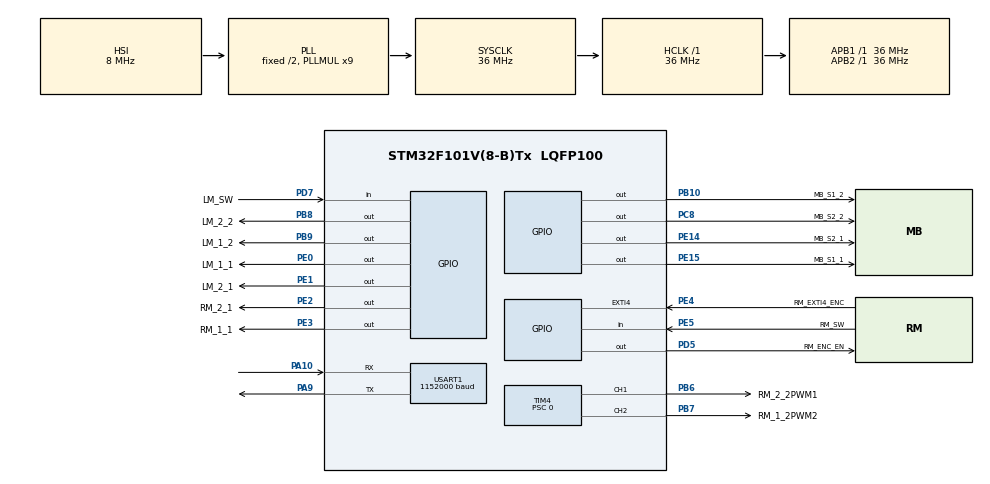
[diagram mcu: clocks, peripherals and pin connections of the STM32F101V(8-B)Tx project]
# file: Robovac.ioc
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FREERTOS.Tasks01=defaultTask,0,256,StartDefaultTask,Default,NULL,Dynamic,NULL,NULL
FREERTOS.configCHECK_FOR_STACK_OVERFLOW=0
FREERTOS.configUSE_MALLOC_FAILED_HOOK=0
Mcu.Family=STM32F1
Mcu.Name=STM32F101V(8-B)Tx
Mcu.Package=LQFP100
NVIC.EXTI4_IRQn=true\:5\:0\:false\:false\:true\:true\:true\:true
NVIC.PriorityGroup=NVIC_PRIORITYGROUP_4
NVIC.TIM2_IRQn=true\:5\:0\:false\:false\:true\:true\:true\:true
PA10.Mode=Asynchronous
PA10.Signal=USART1_RX
PA13.Mode=Serial_Wire
PA13.Signal=SYS_JTMS-SWDIO
PA14.Mode=Serial_Wire
PA14.Signal=SYS_JTCK-SWCLK
PA9.Mode=Asynchronous
PA9.Signal=USART1_TX
PB10.GPIO_Label=MB_S1_2
PB10.GPIO_ModeDefaultOutputPP=GPIO_MODE_OUTPUT_PP
PB10.Signal=GPIO_Output
PB6.GPIO_Label=RM_2_2PWM1
PB6.Signal=S_TIM4_CH1
PB7.GPIO_Label=RM_1_2PWM2
PB7.Signal=S_TIM4_CH2
PB8.GPIO_Label=LM_2_2
PB8.Signal=GPIO_Output
PB9.GPIO_Label=LM_1_2
PB9.Signal=GPIO_Output
PC14-OSC32_IN.Mode=LSE-External-Oscillator
PC14-OSC32_IN.Signal=RCC_OSC32_IN
PC15-OSC32_OUT.Mode=LSE-External-Oscillator
PC15-OSC32_OUT.Signal=RCC_OSC32_OUT
PC8.GPIO_Label=MB_S2_2
PC8.GPIO_ModeDefaultOutputPP=GPIO_MODE_OUTPUT_PP
PC8.Signal=GPIO_Output
PD5.GPIO_Label=RM_ENC_EN
PD5.PinState=GPIO_PIN_RESET
PD5.Signal=GPIO_Output
PD7.GPIO_Label=LM_SW
PD7.Signal=GPIO_Input
PE0.GPIO_Label=LM_1_1
PE0.Signal=GPIO_Output
PE1.GPIO_Label=LM_2_1
PE1.Signal=GPIO_Output
PE14.GPIO_Label=MB_S2_1
PE14.GPIO_ModeDefaultOutputPP=GPIO_MODE_OUTPUT_PP
PE14.Signal=GPIO_Output
PE15.GPIO_Label=MB_S1_1
PE15.GPIO_ModeDefaultOutputPP=GPIO_MODE_OUTPUT_PP
PE15.Signal=GPIO_Output
PE2.GPIO_Label=RM_2_1
PE2.Signal=GPIO_Output
PE3.GPIO_Label=RM_1_1
PE3.Signal=GPIO_Output
PE4.GPIO_Label=RM_EXTI4_ENC
PE4.GPIO_ModeDefaultEXTI=GPIO_MODE_IT_FALLING
PE4.GPIO_PuPd=GPIO_PULLUP
PE4.Signal=GPXTI4
PE5.GPIO_Label=RM_SW
PE5.Signal=GPIO_Input
ProjectManager.HeapSize=0x200
ProjectManager.StackSize=0x400
ProjectManager.TargetToolchain=STM32CubeIDE
RCC.AHBFreq_Value=36000000
RCC.APB1Freq_Value=36000000
RCC.APB1TimFreq_Value=36000000
RCC.APB2Freq_Value=36000000
RCC.HCLKFreq_Value=36000000
RCC.PLLMUL=RCC_PLL_MUL9
RCC.RTCClockSelection=RCC_RTCCLKSOURCE_LSE
RCC.SYSCLKFreq_VALUE=36000000
RCC.SYSCLKSource=RCC_SYSCLKSOURCE_PLLCLK
RTC.Format=RTC_FORMAT_BCD
SH.S_TIM4_CH1.0=TIM4_CH1,PWM Generation1 CH1
SH.S_TIM4_CH2.0=TIM4_CH2,PWM Generation2 CH2
TIM2.Period=1799
TIM4.Channel-PWM\ Generation1\ CH1=TIM_CHANNEL_1
TIM4.Channel-PWM\ Generation2\ CH2=TIM_CHANNEL_2
TIM4.OCMode_PWM-PWM\ Generation2\ CH2=TIM_OCMODE_PWM1
TIM4.OCPolarity_2=TIM_OCPOLARITY_HIGH
TIM4.Period=1799
TIM4.Prescaler=0
TIM4.Pulse-PWM\ Generation1\ CH1=100
TIM4.Pulse-PWM\ Generation2\ CH2=100
USART1.BaudRate=1152000
USART1.VirtualMode=VM_ASYNC
VP_FREERTOS_VS_CMSIS_V1.Mode=CMSIS_V1
VP_RTC_VS_RTC_Activate.Mode=RTC_Enabled
VP_RTC_VS_RTC_Calendar.Mode=RTC_Calendar
VP_TIM2_VS_ClockSourceINT.Mode=Internal
VP_TIM4_VS_ClockSourceINT.Mode=Internal
board=custom

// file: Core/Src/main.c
/* USER CODE BEGIN Header */
/**
 ******************************************************************************
 * @file           : main.c
 * @brief          : Main program body
 ******************************************************************************
 * @attention
 *
 * <h2><center>&copy; Copyright (c) 2020 STMicroelectronics.
 * All rights reserved.</center></h2>
 *
 * This software component is licensed by ST under BSD 3-Clause license,
 * the "License"; You may not use this file except in compliance with the
 * License. You may obtain a copy of the License at:
 *                        opensource.org/licenses/BSD-3-Clause
 *
 ******************************************************************************
 */
/* USER CODE END Header */

#include "main.h"
#include "cmsis_os.h"

/* USER CODE BEGIN Includes */
#include "pid.h"
#include "wheel_control.h"
/* USER CODE END Includes */

RTC_HandleTypeDef hrtc;

TIM_HandleTypeDef htim2;
TIM_HandleTypeDef htim4;

UART_HandleTypeDef huart1;

osThreadId defaultTaskHandle;
/* USER CODE BEGIN PV */

volatile int rm_enc_count = 0;
volatile float freq = 0;
volatile float rpm = 0;
volatile uint8_t rm_enc_it = 0;
volatile uint64_t rm_enc_time_us = 0;
volatile uint64_t last_rm_enc_time_us = 0;
volatile uint64_t time_us = 0;
volatile WheelControl r_wheel = { 0 };
/* USER CODE END PV */

void SystemClock_Config(void);
static void MX_GPIO_Init(void);
static void MX_TIM4_Init(void);
static void MX_RTC_Init(void);
static void MX_TIM2_Init(void);
static void MX_USART1_UART_Init(void);
void StartDefaultTask(void const * argument);

/* USER CODE BEGIN PFP */
void setGPIOMode(GPIO_TypeDef *GPIOx, uint16_t GPIO_Pin, uint32_t Mode);
/* USER CODE END PFP */

int main(void)
{

  /* MCU Configuration--------------------------------------------------------*/

  /* Reset of all peripherals, Initializes the Flash interface and the Systick. */
  HAL_Init();

  /* USER CODE BEGIN Init */
	TIM2->CNT = 0;
  /* USER CODE END Init */

  /* Configure the system clock */
  SystemClock_Config();

  /* Initialize all configured peripherals */
  MX_GPIO_Init();
  MX_TIM4_Init();
  MX_RTC_Init();
  MX_TIM2_Init();
  MX_USART1_UART_Init();
  /* USER CODE BEGIN 2 */
	//
	//HAL_TIM_PWM_Start(&htim4, TIM_CHANNEL_2);
	//HAL_TIM_PWM_Start(&htim4, TIM_CHANNEL_1);
	HAL_TIM_Base_Start_IT(&htim2);
	wheel_init(&r_wheel, &huart1, RM_ENC_EN_GPIO_Port, RM_ENC_EN_Pin, &htim4,
			TIM_CHANNEL_2, TIM_CHANNEL_1, RM_1_1_GPIO_Port, RM_1_1_Pin,
			RM_2_1_Pin);

  /* USER CODE END 2 */

  /* Create the thread(s) */
  /* definition and creation of defaultTask */
  osThreadDef(defaultTask, StartDefaultTask, osPriorityNormal, 0, 256);
  defaultTaskHandle = osThreadCreate(osThread(defaultTask), NULL);

  /* Start scheduler */
  osKernelStart();

  /* We should never get here as control is now taken by the scheduler */

  /* Infinite loop */
	while (1) {

	}
}

void SystemClock_Config(void)
{
  RCC_OscInitTypeDef RCC_OscInitStruct = {0};
  RCC_ClkInitTypeDef RCC_ClkInitStruct = {0};
  RCC_PeriphCLKInitTypeDef PeriphClkInit = {0};

  /** Initializes the CPU, AHB and APB busses clocks
  */
  RCC_OscInitStruct.OscillatorType = RCC_OSCILLATORTYPE_HSI|RCC_OSCILLATORTYPE_LSE;
  RCC_OscInitStruct.LSEState = RCC_LSE_ON;
  RCC_OscInitStruct.HSIState = RCC_HSI_ON;
  RCC_OscInitStruct.HSICalibrationValue = RCC_HSICALIBRATION_DEFAULT;
  RCC_OscInitStruct.PLL.PLLState = RCC_PLL_ON;
  RCC_OscInitStruct.PLL.PLLSource = RCC_PLLSOURCE_HSI_DIV2;
  RCC_OscInitStruct.PLL.PLLMUL = RCC_PLL_MUL9;
  if (HAL_RCC_OscConfig(&RCC_OscInitStruct) != HAL_OK)
  {
    Error_Handler();
  }
  /** Initializes the CPU, AHB and APB busses clocks
  */
  RCC_ClkInitStruct.ClockType = RCC_CLOCKTYPE_HCLK|RCC_CLOCKTYPE_SYSCLK
                              |RCC_CLOCKTYPE_PCLK1|RCC_CLOCKTYPE_PCLK2;
  RCC_ClkInitStruct.SYSCLKSource = RCC_SYSCLKSOURCE_PLLCLK;
  RCC_ClkInitStruct.AHBCLKDivider = RCC_SYSCLK_DIV1;
  RCC_ClkInitStruct.APB1CLKDivider = RCC_HCLK_DIV1;
  RCC_ClkInitStruct.APB2CLKDivider = RCC_HCLK_DIV1;

  if (HAL_RCC_ClockConfig(&RCC_ClkInitStruct, FLASH_LATENCY_1) != HAL_OK)
  {
    Error_Handler();
  }
  PeriphClkInit.PeriphClockSelection = RCC_PERIPHCLK_RTC;
  PeriphClkInit.RTCClockSelection = RCC_RTCCLKSOURCE_LSE;
  if (HAL_RCCEx_PeriphCLKConfig(&PeriphClkInit) != HAL_OK)
  {
    Error_Handler();
  }
}

static void MX_RTC_Init(void)
{

  RTC_TimeTypeDef sTime = {0};
  RTC_DateTypeDef DateToUpdate = {0};

  /** Initialize RTC Only
  */
  hrtc.Instance = RTC;
  hrtc.Init.AsynchPrediv = RTC_AUTO_1_SECOND;
  hrtc.Init.OutPut = RTC_OUTPUTSOURCE_ALARM;
  if (HAL_RTC_Init(&hrtc) != HAL_OK)
  {
    Error_Handler();
  }

  /** Initialize RTC and set the Time and Date
  */
  sTime.Hours = 0x0;
  sTime.Minutes = 0x0;
  sTime.Seconds = 0x0;

  if (HAL_RTC_SetTime(&hrtc, &sTime, RTC_FORMAT_BCD) != HAL_OK)
  {
    Error_Handler();
  }
  DateToUpdate.WeekDay = RTC_WEEKDAY_MONDAY;
  DateToUpdate.Month = RTC_MONTH_JANUARY;
  DateToUpdate.Date = 0x1;
  DateToUpdate.Year = 0x0;

  if (HAL_RTC_SetDate(&hrtc, &DateToUpdate, RTC_FORMAT_BCD) != HAL_OK)
  {
    Error_Handler();
  }

}

static void MX_TIM2_Init(void)
{

  TIM_ClockConfigTypeDef sClockSourceConfig = {0};
  TIM_MasterConfigTypeDef sMasterConfig = {0};

  htim2.Instance = TIM2;
  htim2.Init.Prescaler = 0;
  htim2.Init.CounterMode = TIM_COUNTERMODE_UP;
  htim2.Init.Period = 1799;
  htim2.Init.ClockDivision = TIM_CLOCKDIVISION_DIV1;
  htim2.Init.AutoReloadPreload = TIM_AUTORELOAD_PRELOAD_DISABLE;
  if (HAL_TIM_Base_Init(&htim2) != HAL_OK)
  {
    Error_Handler();
  }
  sClockSourceConfig.ClockSource = TIM_CLOCKSOURCE_INTERNAL;
  if (HAL_TIM_ConfigClockSource(&htim2, &sClockSourceConfig) != HAL_OK)
  {
    Error_Handler();
  }
  sMasterConfig.MasterOutputTrigger = TIM_TRGO_RESET;
  sMasterConfig.MasterSlaveMode = TIM_MASTERSLAVEMODE_DISABLE;
  if (HAL_TIMEx_MasterConfigSynchronization(&htim2, &sMasterConfig) != HAL_OK)
  {
    Error_Handler();
  }

}

static void MX_TIM4_Init(void)
{

  TIM_ClockConfigTypeDef sClockSourceConfig = {0};
  TIM_MasterConfigTypeDef sMasterConfig = {0};
  TIM_OC_InitTypeDef sConfigOC = {0};

  htim4.Instance = TIM4;
  htim4.Init.Prescaler = 0;
  htim4.Init.CounterMode = TIM_COUNTERMODE_UP;
  htim4.Init.Period = 1799;
  htim4.Init.ClockDivision = TIM_CLOCKDIVISION_DIV1;
  htim4.Init.AutoReloadPreload = TIM_AUTORELOAD_PRELOAD_DISABLE;
  if (HAL_TIM_Base_Init(&htim4) != HAL_OK)
  {
    Error_Handler();
  }
  sClockSourceConfig.ClockSource = TIM_CLOCKSOURCE_INTERNAL;
  if (HAL_TIM_ConfigClockSource(&htim4, &sClockSourceConfig) != HAL_OK)
  {
    Error_Handler();
  }
  if (HAL_TIM_PWM_Init(&htim4) != HAL_OK)
  {
    Error_Handler();
  }
  sMasterConfig.MasterOutputTrigger = TIM_TRGO_RESET;
  sMasterConfig.MasterSlaveMode = TIM_MASTERSLAVEMODE_DISABLE;
  if (HAL_TIMEx_MasterConfigSynchronization(&htim4, &sMasterConfig) != HAL_OK)
  {
    Error_Handler();
  }
  sConfigOC.OCMode = TIM_OCMODE_PWM1;
  sConfigOC.Pulse = 100;
  sConfigOC.OCPolarity = TIM_OCPOLARITY_HIGH;
  sConfigOC.OCFastMode = TIM_OCFAST_DISABLE;
  if (HAL_TIM_PWM_ConfigChannel(&htim4, &sConfigOC, TIM_CHANNEL_1) != HAL_OK)
  {
    Error_Handler();
  }
  if (HAL_TIM_PWM_ConfigChannel(&htim4, &sConfigOC, TIM_CHANNEL_2) != HAL_OK)
  {
    Error_Handler();
  }
  HAL_TIM_MspPostInit(&htim4);

}

static void MX_USART1_UART_Init(void)
{

  huart1.Instance = USART1;
  huart1.Init.BaudRate = 1152000;
  huart1.Init.WordLength = UART_WORDLENGTH_8B;
  huart1.Init.StopBits = UART_STOPBITS_1;
  huart1.Init.Parity = UART_PARITY_NONE;
  huart1.Init.Mode = UART_MODE_TX_RX;
  huart1.Init.HwFlowCtl = UART_HWCONTROL_NONE;
  huart1.Init.OverSampling = UART_OVERSAMPLING_16;
  if (HAL_UART_Init(&huart1) != HAL_OK)
  {
    Error_Handler();
  }

}

static void MX_GPIO_Init(void)
{
  GPIO_InitTypeDef GPIO_InitStruct = {0};

  /* GPIO Ports Clock Enable */
  __HAL_RCC_GPIOE_CLK_ENABLE();
  __HAL_RCC_GPIOC_CLK_ENABLE();
  __HAL_RCC_GPIOB_CLK_ENABLE();
  __HAL_RCC_GPIOA_CLK_ENABLE();
  __HAL_RCC_GPIOD_CLK_ENABLE();

  /*Configure GPIO pin Output Level */
  HAL_GPIO_WritePin(GPIOE, RM_2_1_Pin|RM_1_1_Pin|MB_S2_1_Pin|MB_S1_1_Pin
                          |LM_1_1_Pin|LM_2_1_Pin, GPIO_PIN_RESET);

  /*Configure GPIO pin Output Level */
  HAL_GPIO_WritePin(GPIOB, MB_S1_2_Pin|LM_2_2_Pin|LM_1_2_Pin, GPIO_PIN_RESET);

  /*Configure GPIO pin Output Level */
  HAL_GPIO_WritePin(MB_S2_2_GPIO_Port, MB_S2_2_Pin, GPIO_PIN_RESET);

  /*Configure GPIO pin Output Level */
  HAL_GPIO_WritePin(RM_ENC_EN_GPIO_Port, RM_ENC_EN_Pin, GPIO_PIN_RESET);

  /*Configure GPIO pins : RM_2_1_Pin RM_1_1_Pin MB_S2_1_Pin MB_S1_1_Pin
                           LM_1_1_Pin LM_2_1_Pin */
  GPIO_InitStruct.Pin = RM_2_1_Pin|RM_1_1_Pin|MB_S2_1_Pin|MB_S1_1_Pin
                          |LM_1_1_Pin|LM_2_1_Pin;
  GPIO_InitStruct.Mode = GPIO_MODE_OUTPUT_PP;
  GPIO_InitStruct.Pull = GPIO_NOPULL;
  GPIO_InitStruct.Speed = GPIO_SPEED_FREQ_LOW;
  HAL_GPIO_Init(GPIOE, &GPIO_InitStruct);

  /*Configure GPIO pin : RM_EXTI4_ENC_Pin */
  GPIO_InitStruct.Pin = RM_EXTI4_ENC_Pin;
  GPIO_InitStruct.Mode = GPIO_MODE_IT_FALLING;
  GPIO_InitStruct.Pull = GPIO_PULLUP;
  HAL_GPIO_Init(RM_EXTI4_ENC_GPIO_Port, &GPIO_InitStruct);

  /*Configure GPIO pin : RM_SW_Pin */
  GPIO_InitStruct.Pin = RM_SW_Pin;
  GPIO_InitStruct.Mode = GPIO_MODE_INPUT;
  GPIO_InitStruct.Pull = GPIO_NOPULL;
  HAL_GPIO_Init(RM_SW_GPIO_Port, &GPIO_InitStruct);

  /*Configure GPIO pins : MB_S1_2_Pin LM_2_2_Pin LM_1_2_Pin */
  GPIO_InitStruct.Pin = MB_S1_2_Pin|LM_2_2_Pin|LM_1_2_Pin;
  GPIO_InitStruct.Mode = GPIO_MODE_OUTPUT_PP;
  GPIO_InitStruct.Pull = GPIO_NOPULL;
  GPIO_InitStruct.Speed = GPIO_SPEED_FREQ_LOW;
  HAL_GPIO_Init(GPIOB, &GPIO_InitStruct);

  /*Configure GPIO pin : MB_S2_2_Pin */
  GPIO_InitStruct.Pin = MB_S2_2_Pin;
  GPIO_InitStruct.Mode = GPIO_MODE_OUTPUT_PP;
  GPIO_InitStruct.Pull = GPIO_NOPULL;
  GPIO_InitStruct.Speed = GPIO_SPEED_FREQ_LOW;
  HAL_GPIO_Init(MB_S2_2_GPIO_Port, &GPIO_InitStruct);

  /*Configure GPIO pin : RM_ENC_EN_Pin */
  GPIO_InitStruct.Pin = RM_ENC_EN_Pin;
  GPIO_InitStruct.Mode = GPIO_MODE_OUTPUT_PP;
  GPIO_InitStruct.Pull = GPIO_NOPULL;
  GPIO_InitStruct.Speed = GPIO_SPEED_FREQ_LOW;
  HAL_GPIO_Init(RM_ENC_EN_GPIO_Port, &GPIO_InitStruct);

  /*Configure GPIO pin : LM_SW_Pin */
  GPIO_InitStruct.Pin = LM_SW_Pin;
  GPIO_InitStruct.Mode = GPIO_MODE_INPUT;
  GPIO_InitStruct.Pull = GPIO_NOPULL;
  HAL_GPIO_Init(LM_SW_GPIO_Port, &GPIO_InitStruct);

  /* EXTI interrupt init*/
  HAL_NVIC_SetPriority(EXTI4_IRQn, 5, 0);
  HAL_NVIC_EnableIRQ(EXTI4_IRQn);

}

/* USER CODE BEGIN 4 */
void HAL_GPIO_EXTI_Callback(uint16_t GPIO_Pin) {

	if (RM_EXTI4_ENC_Pin == GPIO_Pin) {
		wheel_encoder_task(&r_wheel);

		/*if (time_us > 0) {
		 rm_enc_time_us = time_us - last_rm_enc_time_us;
		 //if (rm_enc_time_us < 100000) {
		 if (rm_enc_time_us > 0) {
		 freq = 1.0 / (rm_enc_time_us * 0.000001);
		 rpm = ((freq * 0.083) * 60.0);
		 if (rpm > 10000) {
		 rpm = 10000;
		 } else if (rpm < 0) {
		 rpm = 0;
		 }
		 //TIM4->CCR2 = pid_calc(pid, rpm, 4000);
		 }

		 //}
		 }*/

		//rm_enc_it++;
		//last_rm_enc_time_us = time_us;
	}
}

void HAL_TIM_PeriodElapsedCallback(TIM_HandleTypeDef *htim) {
	if (htim->Instance == TIM2) {
		time_us += 50;
		r_wheel.time_us = time_us;
	}
}

void setGPIOMode(GPIO_TypeDef *GPIOx, uint16_t GPIO_Pin, uint32_t Mode) {
	GPIO_InitTypeDef GPIO_InitStruct = { 0 };
	GPIO_InitStruct.Pin = GPIO_Pin;
	GPIO_InitStruct.Mode = Mode;
	GPIO_InitStruct.Pull = GPIO_NOPULL;
	GPIO_InitStruct.Speed = GPIO_SPEED_FREQ_LOW;
	HAL_GPIO_Init(GPIOx, &GPIO_InitStruct);
}

/* USER CODE END 4 */

void StartDefaultTask(void const * argument)
{
  /* USER CODE BEGIN 5 */
	turn_clockwise(&r_wheel, 4000);
	/* Infinite loop */
	//vTaskDelay(10000 / portTICK_RATE_MS);
	//turn_counter_clockwise(r_wheel, 0);
	//vTaskDelay(10000 / portTICK_RATE_MS);
	//turn_counter_clockwise(r_wheel, 9000);
	//vTaskDelay(10000 / portTICK_RATE_MS);
	//turn_counter_clockwise(r_wheel, 0);
	//TIM4->CCR1 = 100;
	//TIM4->CCR2 = 100;
	//HAL_GPIO_WritePin(RM_ENC_EN_GPIO_Port, RM_ENC_EN_Pin, GPIO_PIN_SET);
	//HAL_TIM_PWM_Start(&htim4, TIM_CHANNEL_1);
	//HAL_TIM_PWM_Start(&htim4, TIM_CHANNEL_2);
	/*setGPIOMode(RM_1_1_GPIO_Port, RM_1_1_Pin, GPIO_MODE_OUTPUT_PP);

	 HAL_GPIO_WritePin(RM_2_1_GPIO_Port, RM_2_1_Pin, GPIO_PIN_RESET);

	 setGPIOMode(RM_2_1_GPIO_Port, RM_2_1_Pin, GPIO_MODE_INPUT);

	 HAL_GPIO_WritePin(RM_1_1_GPIO_Port, RM_1_1_Pin, GPIO_PIN_SET);*/

	/*setGPIOMode(RM_1_1_GPIO_Port, RM_1_1_Pin, GPIO_MODE_INPUT);

	 HAL_GPIO_WritePin(RM_2_1_GPIO_Port, RM_2_1_Pin, GPIO_PIN_SET);

	 setGPIOMode(RM_2_1_GPIO_Port, RM_2_1_Pin, GPIO_MODE_OUTPUT_PP);

	 HAL_GPIO_WritePin(RM_1_1_GPIO_Port, RM_1_1_Pin, GPIO_PIN_RESET);*/
	char buffer[30] = { 0 };
	uint32_t compare = 0;

	for (;;) {

		if (r_wheel.status == TurnCkw) {
			compare = __HAL_TIM_GET_COMPARE(r_wheel.htim, r_wheel.channel_ckw);
		} else if (r_wheel.status == TurnC_ckw) {
			compare = __HAL_TIM_GET_COMPARE(r_wheel.htim, r_wheel.channel_c_ckw);
		}

		sprintf(buffer, "!%d %d\r\n", (int)r_wheel.current_rpm, compare);

		//if (ret >= sizeof buffer || ret >= (sizeof buffer / 2)) {
		HAL_UART_Transmit(r_wheel.huart, buffer, sizeof buffer, 100);
		//}

		osDelay(1);
		/*if (rm_enc_count >= 2)
		 {
		 HAL_TIM_PWM_Stop(&htim4, TIM_CHANNEL_1);
		 setGPIOMode(RM_2_1_GPIO_Port, RM_2_1_Pin, GPIO_MODE_OUTPUT_PP);
		 HAL_GPIO_WritePin(RM_1_1_GPIO_Port, RM_1_1_Pin, GPIO_PIN_RESET);

		 }*/
		//osDelay(1);
		/*if (t >= 1) {
		 HAL_TIM_PWM_Stop(&htim4, TIM_CHANNEL_2);
		 HAL_TIM_PWM_Start(&htim4, TIM_CHANNEL_1);

		 setGPIOMode(RM_1_1_GPIO_Port, RM_1_1_Pin, GPIO_MODE_OUTPUT_PP);
		 //setGPIOMode(RM_2_2_GPIO_Port, RM_2_2_Pin, GPIO_MODE_OUTPUT_PP);

		 //HAL_GPIO_WritePin(RM_1_2_GPIO_Port, RM_1_2_Pin, GPIO_PIN_RESET);
		 HAL_GPIO_WritePin(RM_2_1_GPIO_Port, RM_2_1_Pin, GPIO_PIN_RESET);

		 //setGPIOMode(RM_1_2_GPIO_Port, RM_1_2_Pin, GPIO_MODE_INPUT);
		 setGPIOMode(RM_2_1_GPIO_Port, RM_2_1_Pin, GPIO_MODE_INPUT);

		 HAL_GPIO_WritePin(RM_1_1_GPIO_Port, RM_1_1_Pin, GPIO_PIN_SET);
		 //HAL_GPIO_WritePin(RM_2_2_GPIO_Port, RM_2_2_Pin, GPIO_PIN_SET);
		 t=0;
		 vTaskDelay(5000 / portTICK_RATE_MS);

		 } else if(t==0){

		 HAL_TIM_PWM_Stop(&htim4, TIM_CHANNEL_1);
		 HAL_TIM_PWM_Start(&htim4, TIM_CHANNEL_2);
		 //setGPIOMode(RM_1_2_GPIO_Port, RM_1_2_Pin, GPIO_MODE_OUTPUT_PP);
		 setGPIOMode(RM_2_1_GPIO_Port, RM_2_1_Pin, GPIO_MODE_OUTPUT_PP);

		 HAL_GPIO_WritePin(RM_1_1_GPIO_Port, RM_1_1_Pin, GPIO_PIN_RESET);
		 //HAL_GPIO_WritePin(RM_2_2_GPIO_Port, RM_2_2_Pin, GPIO_PIN_RESET);

		 setGPIOMode(RM_1_1_GPIO_Port, RM_1_1_Pin, GPIO_MODE_INPUT);
		 //setGPIOMode(RM_2_2_GPIO_Port, RM_2_2_Pin, GPIO_MODE_INPUT);

		 //HAL_GPIO_WritePin(RM_1_2_GPIO_Port, RM_1_2_Pin, GPIO_PIN_SET);
		 HAL_GPIO_WritePin(RM_2_1_GPIO_Port, RM_2_1_Pin, GPIO_PIN_SET);
		 t=1;
		 vTaskDelay(5000 / portTICK_RATE_MS);
		 }*/

		/*setGPIOMode(LM_1_1_GPIO_Port, LM_1_1_Pin, GPIO_MODE_OUTPUT_PP);
		 setGPIOMode(LM_2_2_GPIO_Port, LM_2_2_Pin, GPIO_MODE_OUTPUT_PP);

		 HAL_GPIO_WritePin(LM_1_2_GPIO_Port, LM_1_2_Pin, GPIO_PIN_RESET);
		 HAL_GPIO_WritePin(LM_2_1_GPIO_Port, LM_2_1_Pin, GPIO_PIN_RESET);

		 setGPIOMode(LM_1_2_GPIO_Port, LM_1_2_Pin, GPIO_MODE_INPUT);
		 setGPIOMode(LM_2_1_GPIO_Port, LM_2_1_Pin, GPIO_MODE_INPUT);

		 HAL_GPIO_WritePin(LM_1_1_GPIO_Port, LM_1_1_Pin, GPIO_PIN_SET);
		 HAL_GPIO_WritePin(LM_2_2_GPIO_Port, LM_2_2_Pin, GPIO_PIN_SET);*/

		/*setGPIOMode(LM_1_2_GPIO_Port, LM_1_2_Pin, GPIO_MODE_OUTPUT_PP);
		 setGPIOMode(LM_2_1_GPIO_Port, LM_2_1_Pin, GPIO_MODE_OUTPUT_PP);

		 HAL_GPIO_WritePin(LM_1_1_GPIO_Port, LM_1_1_Pin, GPIO_PIN_RESET);
		 HAL_GPIO_WritePin(LM_2_2_GPIO_Port, LM_2_2_Pin, GPIO_PIN_RESET);

		 setGPIOMode(LM_1_1_GPIO_Port, LM_1_1_Pin, GPIO_MODE_INPUT);
		 setGPIOMode(LM_2_2_GPIO_Port, LM_2_2_Pin, GPIO_MODE_INPUT);

		 HAL_GPIO_WritePin(LM_1_2_GPIO_Port, LM_1_2_Pin, GPIO_PIN_SET);
		 HAL_GPIO_WritePin(LM_2_1_GPIO_Port, LM_2_1_Pin, GPIO_PIN_SET);*/

		/*setGPIOMode(mb_s1_1_GPIO_Port, mb_s1_1_Pin, GPIO_MODE_OUTPUT_PP);
		 setGPIOMode(mb_s2_2_GPIO_Port, mb_s2_2_Pin, GPIO_MODE_OUTPUT_PP);

		 HAL_GPIO_WritePin(mb_s1_2_GPIO_Port, mb_s1_2_Pin, GPIO_PIN_RESET);
		 HAL_GPIO_WritePin(mb_s2_1_GPIO_Port, mb_s2_1_Pin, GPIO_PIN_RESET);

		 setGPIOMode(mb_s1_2_GPIO_Port, mb_s1_2_Pin, GPIO_MODE_INPUT);
		 setGPIOMode(mb_s2_1_GPIO_Port, mb_s2_1_Pin, GPIO_MODE_INPUT);

		 HAL_GPIO_WritePin(mb_s1_1_GPIO_Port, mb_s1_1_Pin, GPIO_PIN_SET);
		 HAL_GPIO_WritePin(mb_s2_2_GPIO_Port, mb_s2_2_Pin, GPIO_PIN_SET);*/

		/*osDelay(2000);

		 setGPIOMode(mb_s1_2_GPIO_Port, mb_s1_2_Pin, GPIO_MODE_OUTPUT_PP);
		 setGPIOMode(mb_s2_1_GPIO_Port, mb_s2_1_Pin, GPIO_MODE_OUTPUT_PP);

		 HAL_GPIO_WritePin(mb_s1_1_GPIO_Port, mb_s1_1_Pin, GPIO_PIN_RESET);
		 HAL_GPIO_WritePin(mb_s2_2_GPIO_Port, mb_s2_2_Pin, GPIO_PIN_RESET);

		 setGPIOMode(mb_s1_1_GPIO_Port, mb_s1_1_Pin, GPIO_MODE_INPUT);
		 setGPIOMode(mb_s2_2_GPIO_Port, mb_s2_2_Pin, GPIO_MODE_INPUT);

		 HAL_GPIO_WritePin(mb_s1_2_GPIO_Port, mb_s1_2_Pin, GPIO_PIN_SET);
		 HAL_GPIO_WritePin(mb_s2_1_GPIO_Port, mb_s2_1_Pin, GPIO_PIN_SET);*/

	}
  /* USER CODE END 5 */
}

void Error_Handler(void)
{
}

/************************ (C) COPYRIGHT STMicroelectronics *****END OF FILE****/
